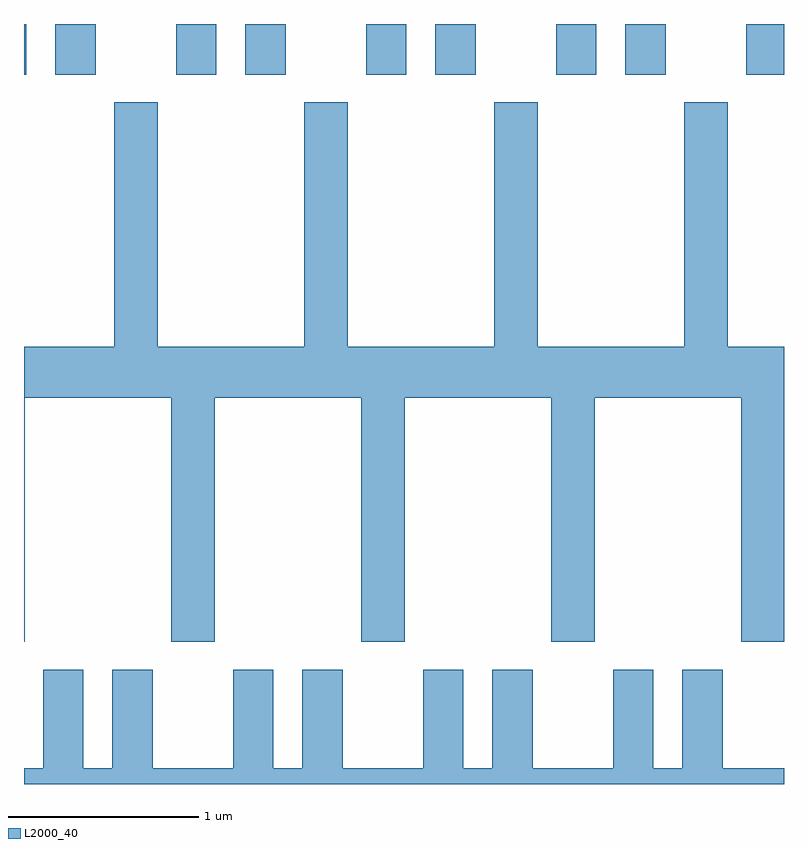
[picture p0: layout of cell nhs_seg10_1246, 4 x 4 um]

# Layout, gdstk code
import gdstk
lib = gdstk.Library(unit=1e-6, precision=1e-09)
def R(c, l, rs):  # rectangles x0, y0, x1, y1
    for r in rs: c.add(gdstk.rectangle(r[:2], r[2:], *l))
def P(c, l, *ps):  # polygons
    for p in ps: c.add(gdstk.Polygon(p, *l))
L2000_40 = (2000, 40)

nhs_seg10_1246 = lib.new_cell('nhs_seg10_1246')
R(nhs_seg10_1246, L2000_40, [(221.611,2142.256,221.624,2142.522), (221.776,2142.256,221.989,2142.522), (222.411,2142.256,222.624,2142.522), (222.776,2142.256,222.989,2142.522), (223.411,2142.256,223.624,2142.522), (223.776,2142.256,223.989,2142.522), (224.411,2142.256,224.624,2142.522), (224.776,2142.256,224.989,2142.522), (225.411,2142.256,225.611,2142.522)])
P(nhs_seg10_1246, L2000_40, [(221.614,2140.556),(222.386,2140.556),(222.386,2139.271),(222.614,2139.271),(222.614,2140.556),(223.386,2140.556),(223.386,2139.271),(223.614,2139.271),(223.614,2140.556),(224.386,2140.556),(224.386,2139.271),(224.614,2139.271),(224.614,2140.556),(225.386,2140.556),(225.386,2139.271),(225.611,2139.271),(225.611,2140.824),(225.314,2140.824),(225.314,2142.109),(225.086,2142.109),(225.086,2140.824),(224.314,2140.824),(224.314,2142.109),(224.086,2142.109),(224.086,2140.824),(223.314,2140.824),(223.314,2142.109),(223.086,2142.109),(223.086,2140.824),(222.314,2140.824),(222.314,2142.109),(222.086,2142.109),(222.086,2140.824),(221.611,2140.824),(221.611,2139.271),(221.614,2139.271)],
  [(225.611,2138.604),(225.289,2138.604),(225.289,2139.124),(225.076,2139.124),(225.076,2138.604),(224.924,2138.604),(224.924,2139.124),(224.711,2139.124),(224.711,2138.604),(224.289,2138.604),(224.289,2139.124),(224.076,2139.124),(224.076,2138.604),(223.924,2138.604),(223.924,2139.124),(223.711,2139.124),(223.711,2138.604),(223.289,2138.604),(223.289,2139.124),(223.076,2139.124),(223.076,2138.604),(222.924,2138.604),(222.924,2139.124),(222.711,2139.124),(222.711,2138.604),(222.289,2138.604),(222.289,2139.124),(222.076,2139.124),(222.076,2138.604),(221.924,2138.604),(221.924,2139.124),(221.711,2139.124),(221.711,2138.604),(221.611,2138.604),(221.611,2138.522),(225.611,2138.522)])

lib.write_gds('nhs_seg10_1246.gds')
